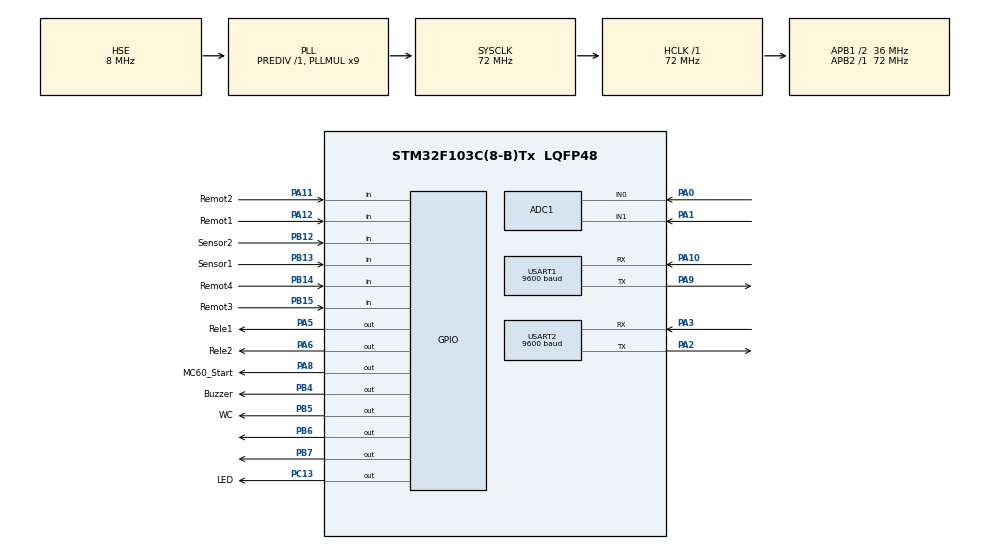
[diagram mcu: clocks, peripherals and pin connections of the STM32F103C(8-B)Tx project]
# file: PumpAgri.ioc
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ADC1.Channel-0\#ChannelRegularConversion=ADC_CHANNEL_0
ADC1.Channel-1\#ChannelRegularConversion=ADC_CHANNEL_1
ADC1.ContinuousConvMode=ENABLE
ADC1.NbrOfConversion=2
ADC1.NbrOfConversionFlag=1
ADC1.Rank-0\#ChannelRegularConversion=1
ADC1.Rank-1\#ChannelRegularConversion=2
ADC1.SamplingTime-0\#ChannelRegularConversion=ADC_SAMPLETIME_239CYCLES_5
ADC1.SamplingTime-1\#ChannelRegularConversion=ADC_SAMPLETIME_239CYCLES_5
ADC1.master=1
Dma.ADC1.0.Direction=DMA_PERIPH_TO_MEMORY
Dma.ADC1.0.Instance=DMA1_Channel1
Dma.ADC1.0.MemDataAlignment=DMA_MDATAALIGN_HALFWORD
Dma.ADC1.0.MemInc=DMA_MINC_ENABLE
Dma.ADC1.0.Mode=DMA_CIRCULAR
Dma.ADC1.0.PeriphDataAlignment=DMA_PDATAALIGN_HALFWORD
Dma.ADC1.0.PeriphInc=DMA_PINC_DISABLE
Dma.ADC1.0.Priority=DMA_PRIORITY_LOW
Dma.Request0=ADC1
IWDG.Prescaler=IWDG_PRESCALER_128
Mcu.Family=STM32F1
Mcu.Name=STM32F103C(8-B)Tx
Mcu.Package=LQFP48
NVIC.DMA1_Channel1_IRQn=true\:0\:0\:false\:false\:true\:false\:true\:true
NVIC.PriorityGroup=NVIC_PRIORITYGROUP_4
NVIC.TIM1_BRK_IRQn=true\:0\:0\:false\:false\:true\:true\:true\:true
NVIC.TIM1_TRG_COM_IRQn=true\:0\:0\:false\:false\:true\:true\:true\:true
NVIC.TIM1_UP_IRQn=true\:0\:0\:false\:false\:true\:true\:true\:true
NVIC.TIM4_IRQn=true\:0\:0\:false\:false\:true\:true\:true\:true
NVIC.USART1_IRQn=true\:0\:0\:false\:false\:true\:true\:true\:true
NVIC.WWDG_IRQn=true\:0\:0\:false\:false\:true\:true\:true\:true
PA0-WKUP.Signal=ADCx_IN0
PA1.Signal=ADCx_IN1
PA10.Mode=Asynchronous
PA10.Signal=USART1_RX
PA11.GPIO_Label=Remot2
PA11.GPIO_PuPd=GPIO_PULLDOWN
PA11.Signal=GPIO_Input
PA12.GPIO_Label=Remot1
PA12.GPIO_PuPd=GPIO_PULLDOWN
PA12.Signal=GPIO_Input
PA13.Mode=Serial_Wire
PA13.Signal=SYS_JTMS-SWDIO
PA14.Mode=Serial_Wire
PA14.Signal=SYS_JTCK-SWCLK
PA2.Mode=Asynchronous
PA2.Signal=USART2_TX
PA3.Mode=Asynchronous
PA3.Signal=USART2_RX
PA5.GPIO_Label=Rele1
PA5.Signal=GPIO_Output
PA6.GPIO_Label=Rele2
PA6.Signal=GPIO_Output
PA8.GPIO_Label=MC60_Start
PA8.Signal=GPIO_Output
PA9.Mode=Asynchronous
PA9.Signal=USART1_TX
PB12.GPIO_Label=Sensor2
PB12.GPIO_PuPd=GPIO_PULLUP
PB12.Signal=GPIO_Input
PB13.GPIO_Label=Sensor1
PB13.GPIO_PuPd=GPIO_PULLDOWN
PB13.Signal=GPIO_Input
PB14.GPIO_Label=Remot4
PB14.GPIO_PuPd=GPIO_PULLDOWN
PB14.Signal=GPIO_Input
PB15.GPIO_Label=Remot3
PB15.GPIO_PuPd=GPIO_PULLDOWN
PB15.Signal=GPIO_Input
PB4.GPIO_Label=Buzzer
PB4.Signal=GPIO_Output
PB5.GPIO_Label=WC
PB5.GPIO_PuPd=GPIO_NOPULL
PB5.GPIO_Speed=GPIO_SPEED_FREQ_HIGH
PB5.Signal=GPIO_Output
PB6.GPIO_ModeDefaultOutputPP=GPIO_MODE_OUTPUT_OD
PB6.GPIO_PuPd=GPIO_PULLUP
PB6.GPIO_Speed=GPIO_SPEED_FREQ_HIGH
PB6.Signal=GPIO_Output
PB7.GPIO_ModeDefaultOutputPP=GPIO_MODE_OUTPUT_OD
PB7.GPIO_PuPd=GPIO_PULLUP
PB7.GPIO_Speed=GPIO_SPEED_FREQ_HIGH
PB7.Signal=GPIO_Output
PC13-TAMPER-RTC.GPIO_Label=LED
PC13-TAMPER-RTC.Signal=GPIO_Output
PD0-OSC_IN.Mode=HSE-External-Oscillator
PD0-OSC_IN.Signal=RCC_OSC_IN
PD1-OSC_OUT.Mode=HSE-External-Oscillator
PD1-OSC_OUT.Signal=RCC_OSC_OUT
ProjectManager.HeapSize=0x400
ProjectManager.StackSize=0x600
ProjectManager.TargetToolchain=EWARM V8.32
RCC.ADCPresc=RCC_ADCPCLK2_DIV6
RCC.AHBFreq_Value=72000000
RCC.APB1CLKDivider=RCC_HCLK_DIV2
RCC.APB1Freq_Value=36000000
RCC.APB1TimFreq_Value=72000000
RCC.APB2Freq_Value=72000000
RCC.APB2TimFreq_Value=72000000
RCC.HCLKFreq_Value=72000000
RCC.PLLMUL=RCC_PLL_MUL9
RCC.PLLSourceVirtual=RCC_PLLSOURCE_HSE
RCC.SYSCLKFreq_VALUE=72000000
RCC.SYSCLKSource=RCC_SYSCLKSOURCE_PLLCLK
RCC.USBFreq_Value=72000000
SH.ADCx_IN0.0=ADC1_IN0,IN0
SH.ADCx_IN1.0=ADC1_IN1,IN1
TIM1.Period=10000
TIM1.Prescaler=7199
TIM4.Period=100
TIM4.Prescaler=100
USART1.BaudRate=9600
USART1.VirtualMode=VM_ASYNC
USART2.BaudRate=9600
USART2.VirtualMode=VM_ASYNC
VP_IWDG_VS_IWDG.Mode=IWDG_Activate
VP_TIM1_VS_ClockSourceINT.Mode=Internal
VP_TIM4_VS_ClockSourceINT.Mode=Internal
VP_WWDG_VS_WWDG.Mode=WWDG_Activate
WWDG.Counter=127
WWDG.EWIMode=WWDG_EWI_ENABLE
WWDG.Window=95
board=custom

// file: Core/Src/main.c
/* USER CODE BEGIN Header */
/**
******************************************************************************
* @file           : main.c
* @brief          : Main program body
******************************************************************************
* @attention
*
* Copyright (c) 2026 STMicroelectronics.
* All rights reserved.
*
* This software is licensed under terms that can be found in the LICENSE file
* in the root directory of this software component.
* If no LICENSE file comes with this software, it is provided AS-IS.
*
******************************************************************************
*/
/* USER CODE END Header */
#include "main.h"

/* USER CODE BEGIN Includes */
#include <string.h>
#include <stdbool.h>
#include <stdio.h>
#include <stdarg.h>
#include <stdlib.h>
#include <math.h>
/* USER CODE END Includes */

ADC_HandleTypeDef hadc1;
DMA_HandleTypeDef hdma_adc1;

IWDG_HandleTypeDef hiwdg;

TIM_HandleTypeDef htim1;
TIM_HandleTypeDef htim4;

UART_HandleTypeDef huart1;
UART_HandleTypeDef huart2;

WWDG_HandleTypeDef hwwdg;

void SystemClock_Config(void);
static void MX_GPIO_Init(void);
static void MX_DMA_Init(void);
static void MX_ADC1_Init(void);
static void MX_TIM1_Init(void);
static void MX_USART1_UART_Init(void);
static void MX_USART2_UART_Init(void);
static void MX_IWDG_Init(void);
static void MX_WWDG_Init(void);
static void MX_TIM4_Init(void);

/* USER CODE BEGIN 0 */

//**************************************
//    Uart
//**************************************
#define RX_BUFFER_SIZE 290
uint8_t rx_buffer1[RX_BUFFER_SIZE];
uint8_t rx_data1;
volatile uint16_t rx_index1 = 0;
int UartTrigTime;
int UartTrig;
char char_test1[295];
uint32_t last_time;
int uartTimeTest;

#define RX_BUFFER_SIZE3 290
uint8_t rx_buffer3[RX_BUFFER_SIZE3];
uint8_t rx_data3;
volatile uint16_t rx_index3 = 0;
int UartTrigTime3;
int UartTrig3;
char char_test3[295];
uint32_t last_time3;
int uartTimeTest3;

//**************************************
//    Sim800
//**************************************
//**** First Start ***
int MC60_FirstStart_Count;
int MC60_Ready=0;
int MC60_FirstStart_Timer;
int MC60_FirstStart_Error;
int model_simcard;
//main var
int reset_count;
char CharMain[300];
char str[200];
char str_cut[50];
int hang;
//sms
char sms_text[250];
char server_number[20] = "+989372425086";
const char server_number2[20] = "+989114764806";
char input_number[24];
char send_number[25];
int exti_sms;
int SMS_Check_point;
int SMS_CHECK_Timer;
int SMS_Check_Count;
int TimeSMSDone;
int SMSDone;
char send_number_ucs2[45];
int SMSCheck;
int main_chek_count;
int number = 5;
//***Check mc60***
int chek_count2;
int chek;
int chek_count;
int main_chek_count;
int sim_error_count1;
int batt_sms;
int anten;
float voltag_battery1;
char battery_cbc[10];
int red_led_count;
int chek_sim_ok;
int voltag_battery;
//****eeprom***
//eeprom_24hc01
uint8_t pass[10]="1111";
uint8_t security_save[5];
uint8_t sleep_mode_save[5];
uint8_t rele_state_save[5];
uint8_t speed_user_save[5];
uint8_t vibrate_state_save[5]; // vibrate_state_save
uint8_t number1[20] = "+981111111111";
uint8_t number2[20]= "+981111111111";
uint8_t number3[20] = "+981111111111";
uint8_t number4[20]= "+981111111111";
uint8_t id[20];
uint8_t gprs_save[5];
uint8_t auto_security_save[5];
uint8_t car_mode[5];
uint8_t Mode[5];
uint8_t loc_save[22];
uint8_t car_number[20];
int anten_send;
int FirstStartError;
int security=0;
int ReleState1;
int ReleState2;
int Security = 0;
float lowCur, highCur;
uint16_t curTime, relTime;
int DeviceMode;
int RemoteMode , AlarmMode;
int EEpromFault;
int DMA_Ready;

//ADC Var
#define ADC_CHANNEL_COUNT 2
uint16_t adc_dma_buffer[ADC_CHANNEL_COUNT];
uint16_t adc[10];
int AdcChannelCount = 2;
int adc1[10];
float Current;
float InputVoltage;
int ADCReady;
int ShowCurrentCount;
int AutoCurrentSet=0;
int AutoCurrentTimer = 0;

int LowCurrentArlarmCount=0;
int LowCurrentArlarmTimer=0;
int HighCurrentAlarmCount=0;
int HighCurrentAlarmTimer=0;

int ReleazeCount = 0;
int RealizeTimr = 0;

//eeprom
#define PHONE_MAX_LEN   16
#define PHONE_COUNT     10   // ?????? 10 ?????
#define PHONE_BASE_ADDR 0x000   // ???? ???? EEPROM
char phone1[] = "09372425086";
char phone2[] = "+989372425086";
char buffer[PHONE_MAX_LEN];
#define EEPROM_SIZE 512   // ?? ??? ????

/******** EEPROM CONFIG MAP ********/

#define EEPROM_MAGIC_ADDR      0x000   // 1 byte
#define EEPROM_MAGIC_VALUE     0x5A

#define EEPROM_ID_ADDR         0x001   // 8 bytes

#define EEPROM_NUM1_ADDR       0x010   // 16 bytes
#define EEPROM_NUM2_ADDR       0x020   // 16 bytes
#define EEPROM_NUM3_ADDR       0x030   // 16 bytes
#define EEPROM_NUM4_ADDR       0x040   // 16 bytes

#define EEPROM_RELAY1_ADDR     0x050   // 1 byte
#define EEPROM_RELAY2_ADDR     0x051   // 1 byte
#define EEPROM_SECURITY_ADDR  0x052   // 1 byte

#define EEPROM_LOW_CUR_ADDR    0x060   // 4 bytes float
#define EEPROM_HIGH_CUR_ADDR   0x064   // 4 bytes float

#define EEPROM_CUR_TIME_ADDR   0x068   // 2 bytes uint16
#define EEPROM_REL_TIME_ADDR   0x06A   // 2 bytes uint16

#define EEPROM_REMOTE_ADDR    0x06C   // 1 byte
#define EEPROM_ALARM_ADDR     0x06D   // 1 byte
#define EEPROM_MODE_ADDR      0x06E   // 1 byte

#define EEPROM_END_ADDR       0x080

int eepromFualt;
#define MIN_CURRENT     0.1f
#define MAX_CURRENT     50.0f

#define MAX_TIME_SEC    10000

#define VALID_0_1(x)    ((x) == 0 || (x) == 1)
#define FLOAT_IS_VALID(x)   ((x) == (x))

//*****Sensor Var1*****
int Pulse1State;
int Pulse1Timer;
int DetectPulse1;
int DetectTimerPulse1;
int RelizeCount;

//*****Sensor Var2*****
int Pulse2State;
int Pulse2Timer;
int DetectPulse2;
int DetectTimerPulse2;
int RelizeCount2;

void substring(char string[200], int x, int y)
{
  memcpy(str_cut, "", sizeof(1));
  int l = y - x;
  char sub_str[50];
  for (int i = 0; i < l; i++)
  {
    sub_str[i] = string[x + i];
  }
  sub_str[l] = '\0';
  sprintf(str_cut, sub_str);
}

void removeChar(char *str, char garbage)
{

  char *src, *dst;
  for (src = dst = str; *src != '\0'; src++)
  {
    *dst = *src;
    if (*dst != garbage)
      dst++;
  }
  *dst = '\0';
}

void show_uart(char *SendChar)
{
  char ss[200];
  strcpy(ss , SendChar);
  strcat(ss, "\r\n");
  HAL_UART_Transmit(&huart2, (uint8_t *) ss, strlen(ss), HAL_MAX_DELAY);
}

void show_uart2(char *SendChar)
{
  char test[300];
  strcpy(test, SendChar);
  int len = strlen (test);
  HAL_UART_Transmit(&huart2, (uint8_t *) test, len, HAL_MAX_DELAY);
}

void send_atcammand(char *SendChar)
{
  char test[200];
  strcpy(test, SendChar);
  strcat(test, "\r\n");
  int len = strlen (test);
  HAL_UART_Transmit(&huart1, (uint8_t *) test, len, HAL_MAX_DELAY);
}

int RemotCount1;
int RemotCount11;
int RemotCount2;
int RemotCount22;
int RemotCount3;
int RemotCount33;
int RemotCount4;
int RemotCount44;

int Remot_Security;
int Remot_Rele;
int Remot_Change_Rele;
int Remot_Change_Security;

void HAL_TIM_PeriodElapsedCallback(TIM_HandleTypeDef *htim)
{

  if (htim->Instance == TIM1){
    if(MC60_Ready == 0){
      ++MC60_FirstStart_Timer;//first start
      HAL_GPIO_TogglePin(LED_GPIO_Port, LED_Pin);
    }
    ++main_chek_count;
    ++chek_count;
    if(SMS_Check_point == 1)++SMS_CHECK_Timer;//check input sms
    if(SMSDone ==1)++TimeSMSDone;//delete sms
    if(AutoCurrentSet == 1)++AutoCurrentTimer;
    if(LowCurrentArlarmCount == 1)++LowCurrentArlarmTimer;
    if(HighCurrentAlarmCount == 1)++HighCurrentAlarmTimer;
    if(ReleazeCount == 1)++RealizeTimr;
    ++ShowCurrentCount;
    //Sensor1
    if(DetectPulse1 == 1)DetectTimerPulse1++;
    if(Pulse1State == 1)++Pulse1Timer;
    //Sensor2
    if(DetectPulse2 == 1)DetectTimerPulse2++;
    if(Pulse2State == 1)++Pulse2Timer;

    //Remot Control
    if(RemotCount1 >=1){
      ++RemotCount11;
      if(RemotCount11 >=1){
        RemotCount1 = 0;
        RemotCount11=0;
      }
    }

    if(RemotCount2 >=1){
      ++RemotCount22;
      if(RemotCount22 >=1){
        RemotCount2 = 0;
        RemotCount22=0;
      }
    }

    if(RemotCount3 >=1){
      ++RemotCount33;
      if(RemotCount33 >=1){
        RemotCount3 = 0;
        RemotCount33=0;
      }
    }

    if(RemotCount4 >=1){
      ++RemotCount44;
      if(RemotCount44 >=1){
        RemotCount4 = 0;
        RemotCount44=0;
      }
    }
  }

  if (htim->Instance == TIM4){

    if (HAL_GPIO_ReadPin(Remot1_GPIO_Port, Remot1_Pin) == 1 && Security == 0 ){ //Security On
      ++RemotCount1;
      if(RemotCount1 >= 50){
        HAL_GPIO_WritePin(Buzzer_GPIO_Port, Buzzer_Pin, GPIO_PIN_RESET);
        RemotCount1 = 0;
        RemotCount11=0;
        Remot_Change_Security = 1;
        Remot_Security = 1;
      }
    }

    if (HAL_GPIO_ReadPin(Remot2_GPIO_Port, Remot2_Pin) == 1 && Security == 1 ){ //Security Off
      ++RemotCount2;
      if(RemotCount2 >= 50){
        HAL_GPIO_WritePin(Buzzer_GPIO_Port, Buzzer_Pin, GPIO_PIN_RESET);
        RemotCount2 = 0;
        RemotCount22=0;
        Remot_Change_Security = 1;
        Remot_Security = 0;
      }
    }

    if (HAL_GPIO_ReadPin(Remot3_GPIO_Port, Remot3_Pin) == 1 && ReleState1 == 0 ){ //Rele On
      ++RemotCount3;
      if(RemotCount3 >= 50){
        HAL_GPIO_WritePin(Buzzer_GPIO_Port, Buzzer_Pin, GPIO_PIN_RESET);
        RemotCount3 = 0;
        RemotCount33=0;
        Remot_Change_Rele = 1;
        Remot_Rele = 1;
      }
    }

    if (HAL_GPIO_ReadPin(Remot4_GPIO_Port, Remot4_Pin) == 1 && ReleState1 == 1 ){ //Rele Of
      ++RemotCount4;
      if(RemotCount4 >= 50){
        HAL_GPIO_WritePin(Buzzer_GPIO_Port, Buzzer_Pin, GPIO_PIN_RESET);
        RemotCount4 = 0;
        RemotCount44=0;
        Remot_Change_Rele = 1;
        Remot_Rele = 0;
      }
    }

  }

}

void call(){
  char msg[50];
  if(strstr((char*)number1, "+98111111111") == NULL){
    sprintf(msg , "ATD");
    strcat(msg,(char *)number1);
    strcat(msg , ";");
    send_atcammand(msg);
  }
  HAL_Delay(10000);
  HAL_IWDG_Refresh(&hiwdg);
  send_atcammand("ATH");
  HAL_Delay(1000);
  if(strstr((char*)number2, "+98111111111") == NULL){
    sprintf(msg , "ATD");
    strcat(msg,(char *)number2);
    strcat(msg , ";");
    send_atcammand(msg);
  }

}

#include "delay.c"
#include "i2c_eeprom/i2c_eeprom.c"
#include "Member.c"
#include "Sim800.c"
#include "Remot.c"
#include "Sensor.c"
#include "PowerCheck.c"
#include "CurrentControl.c"
#include "check.c"
#include "MC60_Uart.c"
/* USER CODE END 0 */

int main(void)
{

  /* MCU Configuration--------------------------------------------------------*/

  /* Reset of all peripherals, Initializes the Flash interface and the Systick. */
  HAL_Init();

  /* Configure the system clock */
  SystemClock_Config();

  /* Initialize all configured peripherals */
  MX_GPIO_Init();
  MX_DMA_Init();
  MX_ADC1_Init();
  MX_TIM1_Init();
  MX_USART1_UART_Init();
  MX_USART2_UART_Init();
  MX_IWDG_Init();
  MX_WWDG_Init();
  MX_TIM4_Init();
  /* USER CODE BEGIN 2 */
  HAL_Delay(1);
  ADC_DMA_Start();
  HAL_TIM_Base_Start_IT(&htim1);
  HAL_TIM_Base_Start_IT(&htim4);
  HAL_UART_Receive_IT(&huart1, &rx_data3, 1);
  show_uart("****Start Program****");

   HAL_GPIO_WritePin(Buzzer_GPIO_Port, Buzzer_Pin, GPIO_PIN_SET);
   HAL_Delay(200);
   HAL_GPIO_WritePin(Buzzer_GPIO_Port, Buzzer_Pin, GPIO_PIN_RESET);
  //eeprom config
  I2C_init();
  //eeprom_clear_all();
  /* USER CODE END 2 */

  /* Infinite loop */
  /* USER CODE BEGIN WHILE */
  while (1)
  {

    Sim800_Uart();
    Sim800();
    if(MC60_Ready == 1){
      PowerCheck();
      CurrentControl();
     if(Security == 1 && PowerCount == 1)Sensor();
     RemmotControl();
    }
    HAL_IWDG_Refresh(&hiwdg);
    /* USER CODE END WHILE */

  }
}

void SystemClock_Config(void)
{
  RCC_OscInitTypeDef RCC_OscInitStruct = {0};
  RCC_ClkInitTypeDef RCC_ClkInitStruct = {0};
  RCC_PeriphCLKInitTypeDef PeriphClkInit = {0};

  /** Initializes the RCC Oscillators according to the specified parameters
  * in the RCC_OscInitTypeDef structure.
  */
  RCC_OscInitStruct.OscillatorType = RCC_OSCILLATORTYPE_LSI|RCC_OSCILLATORTYPE_HSE;
  RCC_OscInitStruct.HSEState = RCC_HSE_ON;
  RCC_OscInitStruct.HSEPredivValue = RCC_HSE_PREDIV_DIV1;
  RCC_OscInitStruct.HSIState = RCC_HSI_ON;
  RCC_OscInitStruct.LSIState = RCC_LSI_ON;
  RCC_OscInitStruct.PLL.PLLState = RCC_PLL_ON;
  RCC_OscInitStruct.PLL.PLLSource = RCC_PLLSOURCE_HSE;
  RCC_OscInitStruct.PLL.PLLMUL = RCC_PLL_MUL9;
  if (HAL_RCC_OscConfig(&RCC_OscInitStruct) != HAL_OK)
  {
    Error_Handler();
  }

  /** Initializes the CPU, AHB and APB buses clocks
  */
  RCC_ClkInitStruct.ClockType = RCC_CLOCKTYPE_HCLK|RCC_CLOCKTYPE_SYSCLK
                              |RCC_CLOCKTYPE_PCLK1|RCC_CLOCKTYPE_PCLK2;
  RCC_ClkInitStruct.SYSCLKSource = RCC_SYSCLKSOURCE_PLLCLK;
  RCC_ClkInitStruct.AHBCLKDivider = RCC_SYSCLK_DIV1;
  RCC_ClkInitStruct.APB1CLKDivider = RCC_HCLK_DIV2;
  RCC_ClkInitStruct.APB2CLKDivider = RCC_HCLK_DIV1;

  if (HAL_RCC_ClockConfig(&RCC_ClkInitStruct, FLASH_LATENCY_2) != HAL_OK)
  {
    Error_Handler();
  }
  PeriphClkInit.PeriphClockSelection = RCC_PERIPHCLK_ADC;
  PeriphClkInit.AdcClockSelection = RCC_ADCPCLK2_DIV6;
  if (HAL_RCCEx_PeriphCLKConfig(&PeriphClkInit) != HAL_OK)
  {
    Error_Handler();
  }
}

static void MX_ADC1_Init(void)
{

  ADC_ChannelConfTypeDef sConfig = {0};

  /** Common config
  */
  hadc1.Instance = ADC1;
  hadc1.Init.ScanConvMode = ADC_SCAN_ENABLE;
  hadc1.Init.ContinuousConvMode = ENABLE;
  hadc1.Init.DiscontinuousConvMode = DISABLE;
  hadc1.Init.ExternalTrigConv = ADC_SOFTWARE_START;
  hadc1.Init.DataAlign = ADC_DATAALIGN_RIGHT;
  hadc1.Init.NbrOfConversion = 2;
  if (HAL_ADC_Init(&hadc1) != HAL_OK)
  {
    Error_Handler();
  }

  /** Configure Regular Channel
  */
  sConfig.Channel = ADC_CHANNEL_0;
  sConfig.Rank = ADC_REGULAR_RANK_1;
  sConfig.SamplingTime = ADC_SAMPLETIME_239CYCLES_5;
  if (HAL_ADC_ConfigChannel(&hadc1, &sConfig) != HAL_OK)
  {
    Error_Handler();
  }

  /** Configure Regular Channel
  */
  sConfig.Channel = ADC_CHANNEL_1;
  sConfig.Rank = ADC_REGULAR_RANK_2;
  if (HAL_ADC_ConfigChannel(&hadc1, &sConfig) != HAL_OK)
  {
    Error_Handler();
  }

}

static void MX_IWDG_Init(void)
{

  hiwdg.Instance = IWDG;
  hiwdg.Init.Prescaler = IWDG_PRESCALER_128;
  hiwdg.Init.Reload = 4095;
  if (HAL_IWDG_Init(&hiwdg) != HAL_OK)
  {
    Error_Handler();
  }

}

static void MX_TIM1_Init(void)
{

  TIM_ClockConfigTypeDef sClockSourceConfig = {0};
  TIM_MasterConfigTypeDef sMasterConfig = {0};

  htim1.Instance = TIM1;
  htim1.Init.Prescaler = 7199;
  htim1.Init.CounterMode = TIM_COUNTERMODE_UP;
  htim1.Init.Period = 10000;
  htim1.Init.ClockDivision = TIM_CLOCKDIVISION_DIV1;
  htim1.Init.RepetitionCounter = 0;
  htim1.Init.AutoReloadPreload = TIM_AUTORELOAD_PRELOAD_DISABLE;
  if (HAL_TIM_Base_Init(&htim1) != HAL_OK)
  {
    Error_Handler();
  }
  sClockSourceConfig.ClockSource = TIM_CLOCKSOURCE_INTERNAL;
  if (HAL_TIM_ConfigClockSource(&htim1, &sClockSourceConfig) != HAL_OK)
  {
    Error_Handler();
  }
  sMasterConfig.MasterOutputTrigger = TIM_TRGO_RESET;
  sMasterConfig.MasterSlaveMode = TIM_MASTERSLAVEMODE_DISABLE;
  if (HAL_TIMEx_MasterConfigSynchronization(&htim1, &sMasterConfig) != HAL_OK)
  {
    Error_Handler();
  }

}

static void MX_TIM4_Init(void)
{

  TIM_ClockConfigTypeDef sClockSourceConfig = {0};
  TIM_MasterConfigTypeDef sMasterConfig = {0};

  htim4.Instance = TIM4;
  htim4.Init.Prescaler = 100;
  htim4.Init.CounterMode = TIM_COUNTERMODE_UP;
  htim4.Init.Period = 100;
  htim4.Init.ClockDivision = TIM_CLOCKDIVISION_DIV1;
  htim4.Init.AutoReloadPreload = TIM_AUTORELOAD_PRELOAD_DISABLE;
  if (HAL_TIM_Base_Init(&htim4) != HAL_OK)
  {
    Error_Handler();
  }
  sClockSourceConfig.ClockSource = TIM_CLOCKSOURCE_INTERNAL;
  if (HAL_TIM_ConfigClockSource(&htim4, &sClockSourceConfig) != HAL_OK)
  {
    Error_Handler();
  }
  sMasterConfig.MasterOutputTrigger = TIM_TRGO_RESET;
  sMasterConfig.MasterSlaveMode = TIM_MASTERSLAVEMODE_DISABLE;
  if (HAL_TIMEx_MasterConfigSynchronization(&htim4, &sMasterConfig) != HAL_OK)
  {
    Error_Handler();
  }

}

static void MX_USART1_UART_Init(void)
{

  huart1.Instance = USART1;
  huart1.Init.BaudRate = 9600;
  huart1.Init.WordLength = UART_WORDLENGTH_8B;
  huart1.Init.StopBits = UART_STOPBITS_1;
  huart1.Init.Parity = UART_PARITY_NONE;
  huart1.Init.Mode = UART_MODE_TX_RX;
  huart1.Init.HwFlowCtl = UART_HWCONTROL_NONE;
  huart1.Init.OverSampling = UART_OVERSAMPLING_16;
  if (HAL_UART_Init(&huart1) != HAL_OK)
  {
    Error_Handler();
  }

}

static void MX_USART2_UART_Init(void)
{

  huart2.Instance = USART2;
  huart2.Init.BaudRate = 9600;
  huart2.Init.WordLength = UART_WORDLENGTH_8B;
  huart2.Init.StopBits = UART_STOPBITS_1;
  huart2.Init.Parity = UART_PARITY_NONE;
  huart2.Init.Mode = UART_MODE_TX_RX;
  huart2.Init.HwFlowCtl = UART_HWCONTROL_NONE;
  huart2.Init.OverSampling = UART_OVERSAMPLING_16;
  if (HAL_UART_Init(&huart2) != HAL_OK)
  {
    Error_Handler();
  }

}

static void MX_WWDG_Init(void)
{

  hwwdg.Instance = WWDG;
  hwwdg.Init.Prescaler = WWDG_PRESCALER_1;
  hwwdg.Init.Window = 95;
  hwwdg.Init.Counter = 127;
  hwwdg.Init.EWIMode = WWDG_EWI_ENABLE;
  if (HAL_WWDG_Init(&hwwdg) != HAL_OK)
  {
    Error_Handler();
  }

}

static void MX_DMA_Init(void)
{

  /* DMA controller clock enable */
  __HAL_RCC_DMA1_CLK_ENABLE();

  /* DMA interrupt init */
  /* DMA1_Channel1_IRQn interrupt configuration */
  HAL_NVIC_SetPriority(DMA1_Channel1_IRQn, 0, 0);
  HAL_NVIC_EnableIRQ(DMA1_Channel1_IRQn);

}

static void MX_GPIO_Init(void)
{
  GPIO_InitTypeDef GPIO_InitStruct = {0};

  /* GPIO Ports Clock Enable */
  __HAL_RCC_GPIOC_CLK_ENABLE();
  __HAL_RCC_GPIOD_CLK_ENABLE();
  __HAL_RCC_GPIOA_CLK_ENABLE();
  __HAL_RCC_GPIOB_CLK_ENABLE();

  /*Configure GPIO pin Output Level */
  HAL_GPIO_WritePin(LED_GPIO_Port, LED_Pin, GPIO_PIN_RESET);

  /*Configure GPIO pin Output Level */
  HAL_GPIO_WritePin(GPIOA, Rele1_Pin|Rele2_Pin|MC60_Start_Pin, GPIO_PIN_RESET);

  /*Configure GPIO pin Output Level */
  HAL_GPIO_WritePin(GPIOB, Buzzer_Pin|WC_Pin|GPIO_PIN_6|GPIO_PIN_7, GPIO_PIN_RESET);

  /*Configure GPIO pin : LED_Pin */
  GPIO_InitStruct.Pin = LED_Pin;
  GPIO_InitStruct.Mode = GPIO_MODE_OUTPUT_PP;
  GPIO_InitStruct.Pull = GPIO_NOPULL;
  GPIO_InitStruct.Speed = GPIO_SPEED_FREQ_LOW;
  HAL_GPIO_Init(LED_GPIO_Port, &GPIO_InitStruct);

  /*Configure GPIO pins : Rele1_Pin Rele2_Pin MC60_Start_Pin */
  GPIO_InitStruct.Pin = Rele1_Pin|Rele2_Pin|MC60_Start_Pin;
  GPIO_InitStruct.Mode = GPIO_MODE_OUTPUT_PP;
  GPIO_InitStruct.Pull = GPIO_NOPULL;
  GPIO_InitStruct.Speed = GPIO_SPEED_FREQ_LOW;
  HAL_GPIO_Init(GPIOA, &GPIO_InitStruct);

  /*Configure GPIO pin : Sensor2_Pin */
  GPIO_InitStruct.Pin = Sensor2_Pin;
  GPIO_InitStruct.Mode = GPIO_MODE_INPUT;
  GPIO_InitStruct.Pull = GPIO_PULLUP;
  HAL_GPIO_Init(Sensor2_GPIO_Port, &GPIO_InitStruct);

  /*Configure GPIO pins : Sensor1_Pin Remot4_Pin Remot3_Pin */
  GPIO_InitStruct.Pin = Sensor1_Pin|Remot4_Pin|Remot3_Pin;
  GPIO_InitStruct.Mode = GPIO_MODE_INPUT;
  GPIO_InitStruct.Pull = GPIO_PULLDOWN;
  HAL_GPIO_Init(GPIOB, &GPIO_InitStruct);

  /*Configure GPIO pins : Remot2_Pin Remot1_Pin */
  GPIO_InitStruct.Pin = Remot2_Pin|Remot1_Pin;
  GPIO_InitStruct.Mode = GPIO_MODE_INPUT;
  GPIO_InitStruct.Pull = GPIO_PULLDOWN;
  HAL_GPIO_Init(GPIOA, &GPIO_InitStruct);

  /*Configure GPIO pin : Buzzer_Pin */
  GPIO_InitStruct.Pin = Buzzer_Pin;
  GPIO_InitStruct.Mode = GPIO_MODE_OUTPUT_PP;
  GPIO_InitStruct.Pull = GPIO_NOPULL;
  GPIO_InitStruct.Speed = GPIO_SPEED_FREQ_LOW;
  HAL_GPIO_Init(Buzzer_GPIO_Port, &GPIO_InitStruct);

  /*Configure GPIO pin : WC_Pin */
  GPIO_InitStruct.Pin = WC_Pin;
  GPIO_InitStruct.Mode = GPIO_MODE_OUTPUT_PP;
  GPIO_InitStruct.Pull = GPIO_NOPULL;
  GPIO_InitStruct.Speed = GPIO_SPEED_FREQ_HIGH;
  HAL_GPIO_Init(WC_GPIO_Port, &GPIO_InitStruct);

  /*Configure GPIO pins : PB6 PB7 */
  GPIO_InitStruct.Pin = GPIO_PIN_6|GPIO_PIN_7;
  GPIO_InitStruct.Mode = GPIO_MODE_OUTPUT_OD;
  GPIO_InitStruct.Pull = GPIO_PULLUP;
  GPIO_InitStruct.Speed = GPIO_SPEED_FREQ_HIGH;
  HAL_GPIO_Init(GPIOB, &GPIO_InitStruct);

}

/* USER CODE BEGIN 4 */
void HAL_WWDG_EarlyWakeupCallback(WWDG_HandleTypeDef *hwwdg)
{
  if(hang == 0) HAL_WWDG_Refresh(hwwdg);

}
/* USER CODE END 4 */

void Error_Handler(void)
{
  __disable_irq();
  while (1)
  {
  }
}
